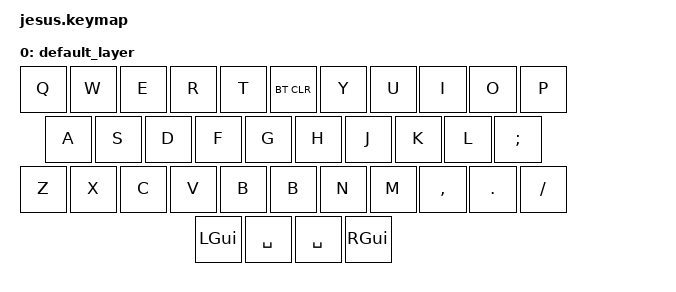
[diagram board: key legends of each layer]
/*
 * Copyright (c) 2020 The ZMK Contributors
 *
 * SPDX-License-Identifier: MIT
 */

#include <behaviors.dtsi>
#include <dt-bindings/zmk/keys.h>
#include <dt-bindings/zmk/bt.h>
#include <dt-bindings/zmk/mouse.h>

/ {
    keymap {
        compatible = "zmk,keymap";

        default_layer {
// --------------------------------------------------------------------------------------------------------------------------------------------------------------------
//   |    Q    |    W    |    E    |    R    |    T    |   Y   |                                  |    Y    |    U    |    I    |    O    |   P  |
//   |    A    |    S    |    D    |    F    |    G    |                                          |    H    |    J    |    K    |    L    |   ;  |
//   |    Z    |    X    |    C    |    V    |    B    |                                |  B      |    N    |    M    |     ,   |    .    |  ?   |  
//                                         |   GUI     | SPACE |                        |  SPACE  |   GUI   |  
            bindings = <
    &kp Q    &kp W    &kp E    &kp R     &kp T     &bt BT_CLR                                            &kp Y     &kp U     &kp I     &kp O     &kp P   
        &kp A    &kp S    &kp D     &kp F     &kp G                                                 &kp H     &kp J     &kp K     &kp L     &kp SEMI 
     &kp Z    &kp X    &kp C     &kp V     &kp B                                  &kp B      &kp N     &kp M     &kp COMMA &kp DOT   &kp FSLH 
                                 &kp LGUI    &kp SPACE                           &kp SPACE &kp RGUI
            >;

            
        };
    };
};
